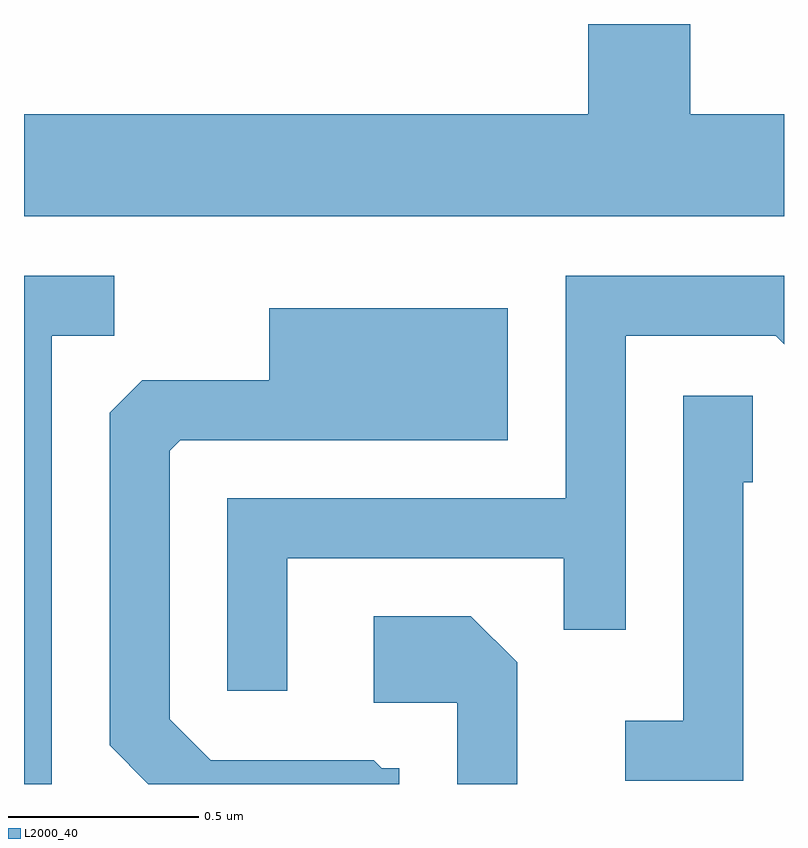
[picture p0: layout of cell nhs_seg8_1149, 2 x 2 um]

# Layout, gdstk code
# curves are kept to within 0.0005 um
import gdstk
lib = gdstk.Library(unit=1e-6, precision=1e-09)
def P(c, l, *ps):  # polygons
    for p in ps: c.add(gdstk.Polygon(p, *l))
L2000_40 = (2000, 40)

nhs_seg8_1149 = lib.new_cell('nhs_seg8_1149')
P(nhs_seg8_1149, L2000_40, [(195.611,1861.104),(195.364,1861.104),(195.364,1861.342),(195.096,1861.342),(195.096,1861.104),(193.611,1861.104),(193.611,1860.836),(195.611,1860.836)],
  [(194.304,1859.936),(195.031,1859.936),(195.031,1859.748),(195.194,1859.748),(195.194,1860.521),(195.589,1860.521),(195.611,1860.499),(195.611,1860.679),(195.036,1860.679),(195.036,1860.094),(194.146,1860.094),(194.146,1859.588),(194.304,1859.588)],
  [(193.684,1860.521),(193.848,1860.521),(193.848,1860.679),(193.611,1860.679),(193.611,1859.342),(193.684,1859.342)],
  [(194.599,1859.384),(194.552,1859.384),(194.532,1859.404),(194.102,1859.404),(193.994,1859.512),(193.994,1860.219),(194.022,1860.246),(194.884,1860.246),(194.884,1860.594),(194.256,1860.594),(194.256,1860.404),(193.922,1860.404),(193.836,1860.319),(193.836,1859.444),(193.938,1859.342),(194.599,1859.342)],
  [(195.504,1860.136),(195.529,1860.136),(195.529,1860.364),(195.346,1860.364),(195.346,1859.509),(195.193,1859.509),(195.193,1859.351),(195.504,1859.351)],
  [(194.909,1859.662),(194.787,1859.784),(194.531,1859.784),(194.531,1859.556),(194.751,1859.556),(194.751,1859.342),(194.909,1859.342)])

lib.write_gds('nhs_seg8_1149.gds')
